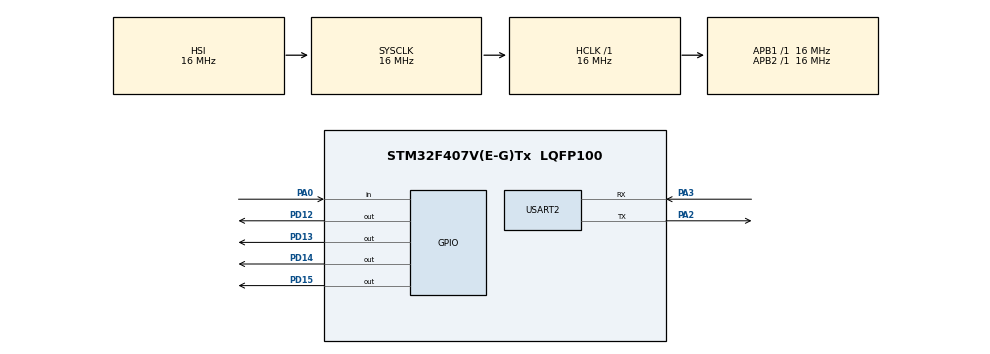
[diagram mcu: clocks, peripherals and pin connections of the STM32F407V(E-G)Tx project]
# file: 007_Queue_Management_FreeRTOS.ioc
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FREERTOS.Queues01=myQueue01,5,uint16_t,0,Dynamic,NULL,NULL
FREERTOS.Tasks01=Task_Sender,0,128,Sender_Handler,Default,NULL,Dynamic,NULL,NULL;Task_Receiver,0,128,Receiver_Handler,Default,NULL,Dynamic,NULL,NULL
Mcu.Family=STM32F4
Mcu.Name=STM32F407V(E-G)Tx
Mcu.Package=LQFP100
NVIC.PriorityGroup=NVIC_PRIORITYGROUP_4
NVIC.TIM1_TRG_COM_TIM11_IRQn=true\:15\:0\:false\:false\:true\:false\:false\:true\:true
NVIC.TimeBase=TIM1_TRG_COM_TIM11_IRQn
NVIC.TimeBaseIP=TIM11
PA0-WKUP.Signal=GPIO_Input
PA2.Mode=Asynchronous
PA2.Signal=USART2_TX
PA3.Mode=Asynchronous
PA3.Signal=USART2_RX
PD12.Signal=GPIO_Output
PD13.Signal=GPIO_Output
PD14.Signal=GPIO_Output
PD15.Signal=GPIO_Output
PH0-OSC_IN.Mode=HSE-External-Oscillator
PH0-OSC_IN.Signal=RCC_OSC_IN
PH1-OSC_OUT.Mode=HSE-External-Oscillator
PH1-OSC_OUT.Signal=RCC_OSC_OUT
ProjectManager.HeapSize=0x200
ProjectManager.StackSize=0x400
ProjectManager.TargetToolchain=STM32CubeIDE
RCC.AHBFreq_Value=16000000
RCC.APB1Freq_Value=16000000
RCC.APB2Freq_Value=16000000
RCC.CortexFreq_Value=16000000
RCC.HSE_VALUE=25000000
RCC.HSI_VALUE=16000000
RCC.LSE_VALUE=32768
RCC.SYSCLKFreq_VALUE=16000000
RCC.VCOOutputFreq_Value=192000000
USART2.VirtualMode=VM_ASYNC
VP_FREERTOS_VS_CMSIS_V1.Mode=CMSIS_V1
VP_SYS_VS_tim11.Mode=TIM11
board=custom

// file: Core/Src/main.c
/* USER CODE BEGIN Header */
/**
  ******************************************************************************
  * @file           : main.c
  * @brief          : Main program body
  ******************************************************************************
  * @attention
  *
  * Copyright (c) 2026 STMicroelectronics.
  * All rights reserved.
  *
  * This software is licensed under terms that can be found in the LICENSE file
  * in the root directory of this software component.
  * If no LICENSE file comes with this software, it is provided AS-IS.
  *
  ******************************************************************************
  */
/* USER CODE END Header */
#include "main.h"
#include "cmsis_os.h"

/* USER CODE BEGIN Includes */
#include <stdio.h>
#include <string.h>

/* USER CODE END Includes */

UART_HandleTypeDef huart2;

osThreadId Task_SenderHandle;
osThreadId Task_ReceiverHandle;
osMessageQId myQueue01Handle;

void SystemClock_Config(void);
static void MX_GPIO_Init(void);
static void MX_USART2_UART_Init(void);
void Sender_Handler(void const * argument);
void Receiver_Handler(void const * argument);

/* USER CODE BEGIN 0 */

void printLog(char *msg)
{
    HAL_UART_Transmit(&huart2, (uint8_t*)msg, strlen(msg), HAL_MAX_DELAY);
}

/* USER CODE END 0 */

int main(void)
{

  /* MCU Configuration--------------------------------------------------------*/

  /* Reset of all peripherals, Initializes the Flash interface and the Systick. */
  HAL_Init();

  /* Configure the system clock */
  SystemClock_Config();

  /* Initialize all configured peripherals */
  MX_GPIO_Init();
  MX_USART2_UART_Init();

  /* Create the queue(s) */
  /* definition and creation of myQueue01 */
  osMessageQDef(myQueue01, 5, uint16_t);
  myQueue01Handle = osMessageCreate(osMessageQ(myQueue01), NULL);

  /* Create the thread(s) */
  /* definition and creation of Task_Sender */
  osThreadDef(Task_Sender, Sender_Handler, osPriorityNormal, 0, 128);
  Task_SenderHandle = osThreadCreate(osThread(Task_Sender), NULL);

  /* definition and creation of Task_Receiver */
  osThreadDef(Task_Receiver, Receiver_Handler, osPriorityNormal, 0, 128);
  Task_ReceiverHandle = osThreadCreate(osThread(Task_Receiver), NULL);

  /* Start scheduler */
  osKernelStart();

  /* We should never get here as control is now taken by the scheduler */

  /* Infinite loop */
  while (1)
  {

  }
}

void SystemClock_Config(void)
{
  RCC_OscInitTypeDef RCC_OscInitStruct = {0};
  RCC_ClkInitTypeDef RCC_ClkInitStruct = {0};

  /** Configure the main internal regulator output voltage
  */
  __HAL_RCC_PWR_CLK_ENABLE();
  __HAL_PWR_VOLTAGESCALING_CONFIG(PWR_REGULATOR_VOLTAGE_SCALE1);

  /** Initializes the RCC Oscillators according to the specified parameters
  * in the RCC_OscInitTypeDef structure.
  */
  RCC_OscInitStruct.OscillatorType = RCC_OSCILLATORTYPE_HSI;
  RCC_OscInitStruct.HSIState = RCC_HSI_ON;
  RCC_OscInitStruct.HSICalibrationValue = RCC_HSICALIBRATION_DEFAULT;
  RCC_OscInitStruct.PLL.PLLState = RCC_PLL_NONE;
  if (HAL_RCC_OscConfig(&RCC_OscInitStruct) != HAL_OK)
  {
    Error_Handler();
  }

  /** Initializes the CPU, AHB and APB buses clocks
  */
  RCC_ClkInitStruct.ClockType = RCC_CLOCKTYPE_HCLK|RCC_CLOCKTYPE_SYSCLK
                              |RCC_CLOCKTYPE_PCLK1|RCC_CLOCKTYPE_PCLK2;
  RCC_ClkInitStruct.SYSCLKSource = RCC_SYSCLKSOURCE_HSI;
  RCC_ClkInitStruct.AHBCLKDivider = RCC_SYSCLK_DIV1;
  RCC_ClkInitStruct.APB1CLKDivider = RCC_HCLK_DIV1;
  RCC_ClkInitStruct.APB2CLKDivider = RCC_HCLK_DIV1;

  if (HAL_RCC_ClockConfig(&RCC_ClkInitStruct, FLASH_LATENCY_0) != HAL_OK)
  {
    Error_Handler();
  }
}

static void MX_USART2_UART_Init(void)
{

  huart2.Instance = USART2;
  huart2.Init.BaudRate = 115200;
  huart2.Init.WordLength = UART_WORDLENGTH_8B;
  huart2.Init.StopBits = UART_STOPBITS_1;
  huart2.Init.Parity = UART_PARITY_NONE;
  huart2.Init.Mode = UART_MODE_TX_RX;
  huart2.Init.HwFlowCtl = UART_HWCONTROL_NONE;
  huart2.Init.OverSampling = UART_OVERSAMPLING_16;
  if (HAL_UART_Init(&huart2) != HAL_OK)
  {
    Error_Handler();
  }

}

static void MX_GPIO_Init(void)
{
  GPIO_InitTypeDef GPIO_InitStruct = {0};

  /* GPIO Ports Clock Enable */
  __HAL_RCC_GPIOH_CLK_ENABLE();
  __HAL_RCC_GPIOA_CLK_ENABLE();
  __HAL_RCC_GPIOD_CLK_ENABLE();

  /*Configure GPIO pin Output Level */
  HAL_GPIO_WritePin(GPIOD, GPIO_PIN_12|GPIO_PIN_13|GPIO_PIN_14|GPIO_PIN_15, GPIO_PIN_RESET);

  /*Configure GPIO pin : PA0 */
  GPIO_InitStruct.Pin = GPIO_PIN_0;
  GPIO_InitStruct.Mode = GPIO_MODE_INPUT;
  GPIO_InitStruct.Pull = GPIO_NOPULL;
  HAL_GPIO_Init(GPIOA, &GPIO_InitStruct);

  /*Configure GPIO pins : PD12 PD13 PD14 PD15 */
  GPIO_InitStruct.Pin = GPIO_PIN_12|GPIO_PIN_13|GPIO_PIN_14|GPIO_PIN_15;
  GPIO_InitStruct.Mode = GPIO_MODE_OUTPUT_PP;
  GPIO_InitStruct.Pull = GPIO_NOPULL;
  GPIO_InitStruct.Speed = GPIO_SPEED_FREQ_LOW;
  HAL_GPIO_Init(GPIOD, &GPIO_InitStruct);

}

void Sender_Handler(void const * argument)
{
  /* USER CODE BEGIN Sender_Handler */
  uint16_t sendData = 0;
  char logMsg[64];

  for(;;)
  {
    if(HAL_GPIO_ReadPin(GPIOA, GPIO_PIN_0) == GPIO_PIN_SET)
    {
      sendData++;

      if(osMessagePut(myQueue01Handle, (uint32_t)sendData, 100) == osOK)
      {
        sprintf(logMsg, ">>> Sender: Butona basildi. Veri [%d] gonderildi.\r\n", sendData);
        printLog(logMsg);

        HAL_GPIO_WritePin(GPIOD, GPIO_PIN_15, GPIO_PIN_SET);
        osDelay(100);
        HAL_GPIO_WritePin(GPIOD, GPIO_PIN_15, GPIO_PIN_RESET);
      }
      else
      {
        printLog(">>> Sender: HATA! Kuyruk dolu olabilir.\r\n");
      }

      osDelay(300);
    }

    osDelay(10);
  }
  /* USER CODE END Sender_Handler */
}

void Receiver_Handler(void const * argument)
{
  /* USER CODE BEGIN Receiver_Handler */
  osEvent event;
  char logMsg[64];

  for(;;)
  {
    event = osMessageGet(myQueue01Handle, osWaitForever);

    if (event.status == osEventMessage)
    {
      uint16_t receivedVal = (uint16_t)event.value.v;

      sprintf(logMsg, "<<< Receiver: Veri [%d] alindi! LED tetikleniyor.\r\n", receivedVal);
      printLog(logMsg);

      HAL_GPIO_WritePin(GPIOD, GPIO_PIN_12, GPIO_PIN_SET);
      osDelay(500);
      HAL_GPIO_WritePin(GPIOD, GPIO_PIN_12, GPIO_PIN_RESET);
    }
  }
  /* USER CODE END Receiver_Handler */
}

void HAL_TIM_PeriodElapsedCallback(TIM_HandleTypeDef *htim)
{
  if (htim->Instance == TIM11)
  {
    HAL_IncTick();
  }
}

void Error_Handler(void)
{
  __disable_irq();
  while (1)
  {
  }
}
